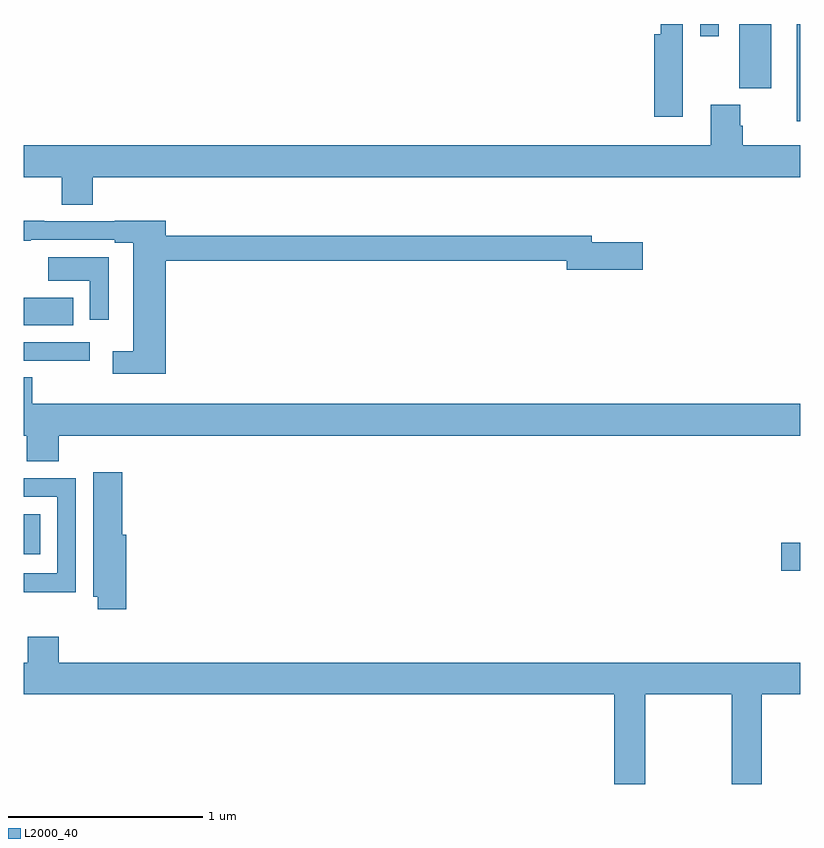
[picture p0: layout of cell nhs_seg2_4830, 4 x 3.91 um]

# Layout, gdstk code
import gdstk
lib = gdstk.Library(unit=1e-6, precision=1e-09)
def R(c, l, rs):  # rectangles x0, y0, x1, y1
    for r in rs: c.add(gdstk.rectangle(r[:2], r[2:], *l))
def P(c, l, *ps):  # polygons
    for p in ps: c.add(gdstk.Polygon(p, *l))
L2000_40 = (2000, 40)

nhs_seg2_4830 = lib.new_cell('nhs_seg2_4830')
R(nhs_seg2_4830, L2000_40, [(378.9,602.986,379,603.128), (375,603.071,375.085,603.277), (375,604.065,375.34,604.161), (375,604.25,375.257,604.39), (378.98,605.3,379,605.8), (378.686,605.47,378.85,605.8), (378.483,605.736,378.579,605.8)])
P(nhs_seg2_4830, L2000_40, [(378.394,605.642),(378.393,605.642),(378.393,605.8),(378.281,605.8),(378.281,605.746),(378.248,605.746),(378.248,605.322),(378.394,605.322)],
  [(375.356,605.012),(379,605.012),(379,605.176),(378.704,605.176),(378.704,605.276),(378.691,605.276),(378.691,605.385),(378.539,605.385),(378.539,605.176),(375,605.176),(375,605.012),(375.196,605.012),(375.196,604.87),(375.356,604.87)],
  [(375.731,604.582),(377.798,604.582),(377.798,604.535),(378.187,604.535),(378.187,604.677),(377.926,604.677),(377.926,604.711),(375.731,604.711),(375.731,604.788),(375.47,604.788),(375.47,604.785),(375.107,604.785),(375.107,604.788),(375,604.788),(375,604.684),(375.038,604.684),(375.038,604.689),(375.47,604.689),(375.47,604.673),(375.566,604.673),(375.566,604.115),(375.459,604.115),(375.459,603.998),(375.731,603.998)],
  [(375.438,604.599),(375.126,604.599),(375.126,604.478),(375.342,604.478),(375.342,604.278),(375.438,604.278)],
  [(375.182,603.68),(379,603.68),(379,603.844),(375.045,603.844),(375.045,603.98),(375,603.98),(375,603.68),(375.017,603.68),(375.017,603.549),(375.182,603.549)],
  [(375.53,603.171),(375.509,603.171),(375.509,603.493),(375.359,603.493),(375.359,602.852),(375.383,602.852),(375.383,602.787),(375.53,602.787)],
  [(375.27,603.462),(375,603.462),(375,603.366),(375.174,603.366),(375.174,602.973),(375,602.973),(375,602.875),(375.27,602.875)],
  [(378.201,602.348),(378.646,602.348),(378.646,601.887),(378.801,601.887),(378.801,602.348),(379,602.348),(379,602.512),(375.182,602.512),(375.182,602.644),(375.022,602.644),(375.022,602.512),(375,602.512),(375,602.348),(378.041,602.348),(378.041,601.887),(378.201,601.887)])

lib.write_gds('nhs_seg2_4830.gds')
